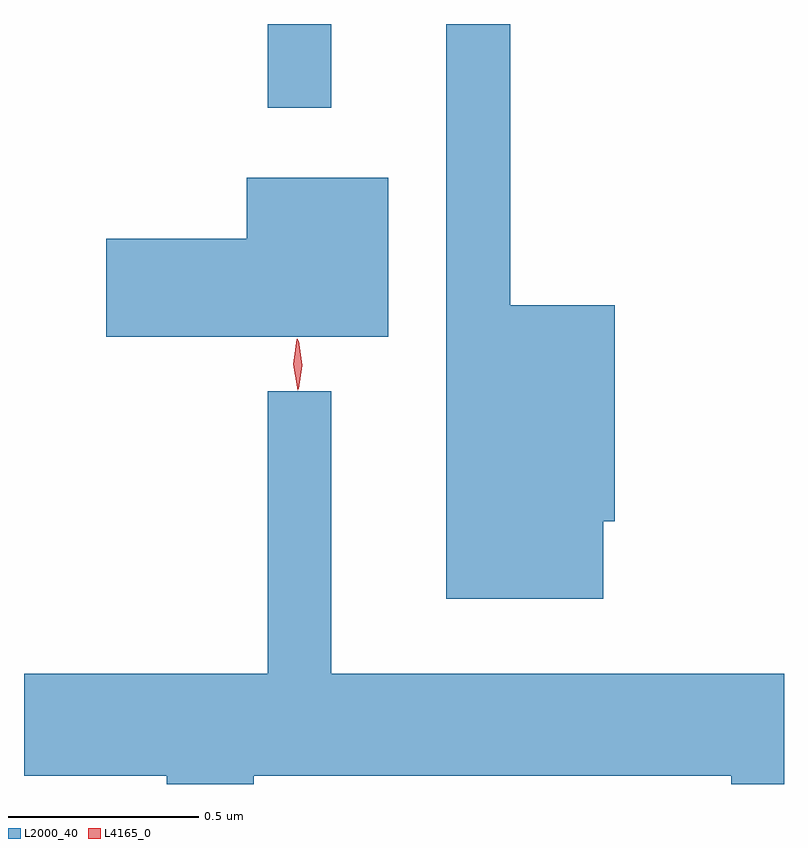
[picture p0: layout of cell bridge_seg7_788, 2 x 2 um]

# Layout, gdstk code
import gdstk
lib = gdstk.Library(unit=1e-6, precision=1e-09)
def R(c, l, rs):  # rectangles x0, y0, x1, y1
    for r in rs: c.add(gdstk.rectangle(r[:2], r[2:], *l))
def P(c, l, *ps):  # polygons
    for p in ps: c.add(gdstk.Polygon(p, *l))
L2000_40 = (2000, 40)
L4165_0 = (4165, 0)

bridge_seg7_788 = lib.new_cell('bridge_seg7_788')
R(bridge_seg7_788, L2000_40, [(461.771,1804.873,461.939,1805.094)])
P(bridge_seg7_788, L2000_40, [(462.654,1803.786),(462.684,1803.786),(462.684,1804.354),(462.409,1804.354),(462.409,1805.094),(462.241,1805.094),(462.241,1803.581),(462.654,1803.581)],
  [(462.089,1804.689),(461.716,1804.689),(461.716,1804.529),(461.346,1804.529),(461.346,1804.271),(462.089,1804.271)],
  [(461.734,1803.116),(462.991,1803.116),(462.991,1803.094),(463.13,1803.094),(463.13,1803.384),(461.939,1803.384),(461.939,1804.128),(461.771,1804.128),(461.771,1803.384),(461.13,1803.384),(461.13,1803.116),(461.506,1803.116),(461.506,1803.094),(461.734,1803.094)])
P(bridge_seg7_788, L4165_0, [(461.852,1804.133),(461.852,1804.134),(461.842,1804.196),(461.852,1804.26),(461.852,1804.26),(461.853,1804.26),(461.862,1804.196),(461.853,1804.134)],
  [(461.85,1804.13),(461.85,1804.13),(461.839,1804.198),(461.848,1804.265),(461.849,1804.266),(461.85,1804.265),(461.86,1804.198),(461.85,1804.13)])

lib.write_gds('bridge_seg7_788.gds')
